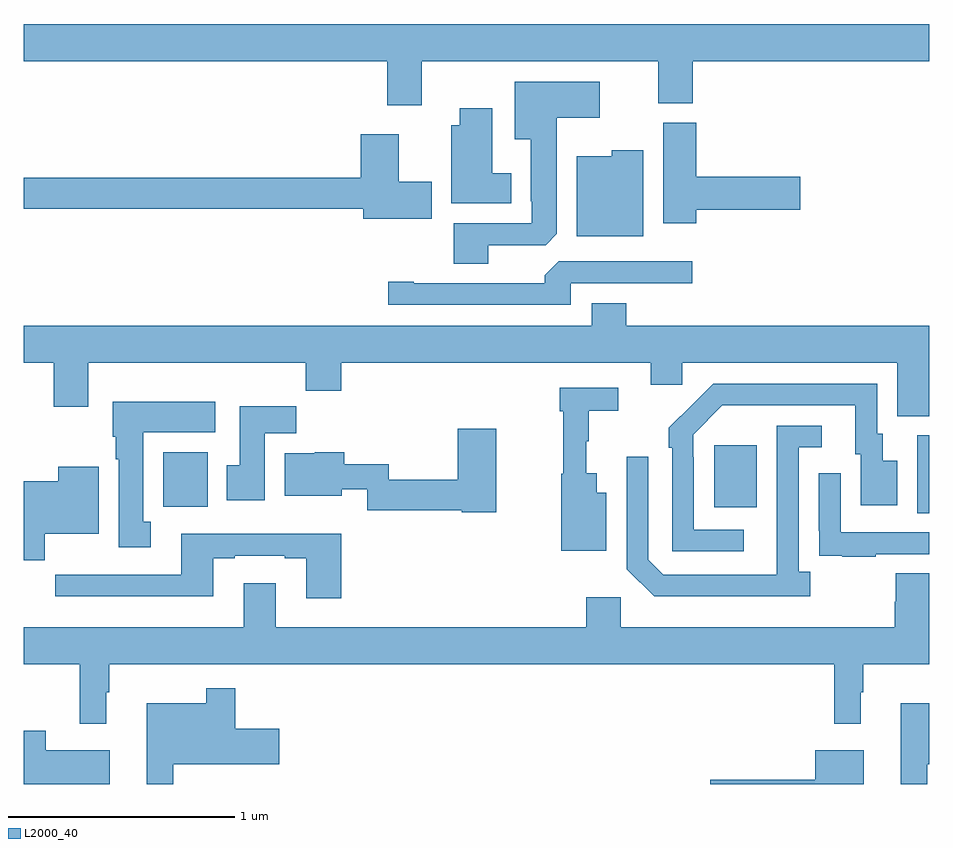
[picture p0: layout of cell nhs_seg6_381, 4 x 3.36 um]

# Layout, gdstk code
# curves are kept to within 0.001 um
import gdstk
lib = gdstk.Library(unit=1e-6, precision=1e-09)
def R(c, l, rs):  # rectangles x0, y0, x1, y1
    for r in rs: c.add(gdstk.rectangle(r[:2], r[2:], *l))
def P(c, l, *ps):  # polygons
    for p in ps: c.add(gdstk.Polygon(p, *l))
L2000_40 = (2000, 40)

nhs_seg6_381 = lib.new_cell('nhs_seg6_381')
R(nhs_seg6_381, L2000_40, [(136.946,922.696,137,923.04), (136.049,922.721,136.237,922.996), (133.616,922.724,133.813,922.966)])
P(nhs_seg6_381, L2000_40, [(134.758,924.692),(135.803,924.692),(135.803,924.505),(135.956,924.505),(135.956,924.692),(137,924.692),(137,924.856),(133,924.856),(133,924.692),(134.606,924.692),(134.606,924.498),(134.758,924.498)],
  [(135.052,923.88),(135.306,923.88),(135.355,923.929),(135.355,924.443),(135.544,924.443),(135.544,924.601),(135.17,924.601),(135.17,924.347),(135.239,924.347),(135.239,924.073),(135.243,924.073),(135.243,923.976),(134.9,923.976),(134.9,923.797),(135.052,923.797)],
  [(135.154,924.196),(135.07,924.196),(135.07,924.484),(134.927,924.484),(134.927,924.409),(134.888,924.409),(134.888,924.065),(135.154,924.065)],
  [(135.971,924.035),(136.429,924.035),(136.429,924.182),(135.971,924.182),(135.971,924.42),(135.824,924.42),(135.824,923.976),(135.971,923.976)],
  [(134.803,924.159),(134.656,924.159),(134.656,924.37),(134.489,924.37),(134.489,924.176),(133,924.176),(133,924.04),(134.501,924.04),(134.501,923.996),(134.803,923.996)],
  [(135.736,924.298),(135.597,924.298),(135.597,924.271),(135.443,924.271),(135.443,923.918),(135.736,923.918)],
  [(135.417,923.712),(135.952,923.712),(135.952,923.808),(135.363,923.808),(135.302,923.746),(135.302,923.712),(134.722,923.712),(134.722,923.717),(134.61,923.717),(134.61,923.616),(135.417,923.616)],
  [(133,923.36),(133.133,923.36),(133.133,923.166),(133.285,923.166),(133.285,923.36),(134.245,923.36),(134.245,923.236),(134.402,923.236),(134.402,923.36),(135.77,923.36),(135.77,923.262),(135.909,923.262),(135.909,923.36),(136.859,923.36),(136.859,923.125),(136.999,923.125),(136.999,923.36),(137,923.36),(137,923.524),(135.662,923.524),(135.662,923.623),(135.509,923.623),(135.509,923.524),(133,923.524)],
  [(136.18,922.623),(135.96,922.623),(135.96,922.943),(135.957,922.943),(135.957,923.043),(136.086,923.172),(136.673,923.172),(136.673,922.956),(136.697,922.956),(136.697,922.731),(136.858,922.731),(136.858,922.927),(136.795,922.927),(136.795,923.046),(136.77,923.046),(136.77,923.268),(136.046,923.268),(135.849,923.073),(135.849,922.985),(135.864,922.985),(135.864,922.527),(136.18,922.527)],
  [(135.574,922.786),(135.532,922.786),(135.532,922.873),(135.485,922.873),(135.485,923.013),(135.496,923.013),(135.496,923.149),(135.625,923.149),(135.625,923.25),(135.367,923.25),(135.367,923.147),(135.382,923.147),(135.382,922.869),(135.374,922.869),(135.374,922.529),(135.574,922.529)],
  [(133.561,922.658),(133.528,922.658),(133.528,923.054),(133.846,923.054),(133.846,923.188),(133.394,923.188),(133.394,923.034),(133.406,923.034),(133.406,922.934),(133.421,922.934),(133.421,922.545),(133.561,922.545)],
  [(134.065,923.048),(134.204,923.048),(134.204,923.167),(133.955,923.167),(133.955,922.908),(133.898,922.908),(133.898,922.752),(134.065,922.752)],
  [(136.474,922.438),(136.422,922.438),(136.422,922.986),(136.525,922.986),(136.525,923.082),(136.326,923.082),(136.325,922.425),(135.825,922.425),(135.759,922.491),(135.759,922.945),(135.663,922.945),(135.663,922.449),(135.784,922.328),(136.474,922.328)],
  [(135.088,923.068),(134.918,923.068),(134.918,922.844),(134.613,922.844),(134.613,922.912),(134.417,922.912),(134.417,922.966),(134.286,922.966),(134.286,922.96),(134.153,922.96),(134.153,922.772),(134.404,922.772),(134.404,922.802),(134.517,922.802),(134.517,922.708),(134.934,922.708),(134.934,922.7),(135.088,922.7)],
  [(133.093,922.604),(133.333,922.604),(133.333,922.9),(133.154,922.9),(133.154,922.837),(133,922.837),(133,922.489),(133.093,922.489)],
  [(136.763,922.515),(137,922.515),(137,922.611),(136.608,922.611),(136.608,922.873),(136.512,922.873),(136.512,922.618),(136.513,922.618),(136.513,922.509),(136.615,922.509),(136.615,922.503),(136.763,922.503)],
  [(134.402,922.606),(133.697,922.606),(133.697,922.425),(133.249,922.425),(133.249,922.423),(133.14,922.423),(133.14,922.328),(133.837,922.328),(133.837,922.497),(133.933,922.497),(133.933,922.509),(134.153,922.509),(134.153,922.497),(134.249,922.497),(134.249,922.32),(134.402,922.32)],
  [(133.366,921.905),(133.378,921.905),(133.378,922.028),(136.579,922.028),(136.579,921.765),(136.696,921.765),(136.696,921.905),(136.708,921.905),(136.708,922.028),(137,922.028),(137,922.298),(136.999,922.298),(136.999,922.43),(136.852,922.43),(136.852,922.305),(136.847,922.305),(136.847,922.192),(135.636,922.192),(135.636,922.324),(135.485,922.324),(135.485,922.192),(134.113,922.192),(134.113,922.387),(133.973,922.387),(133.973,922.192),(133,922.192),(133,922.028),(133.249,922.028),(133.249,921.765),(133.366,921.765)],
  [(133.661,921.587),(134.128,921.587),(134.128,921.745),(133.934,921.745),(133.934,921.922),(133.806,921.922),(133.806,921.856),(133.544,921.856),(133.544,921.5),(133.661,921.5)],
  [(136.991,921.587),(137,921.587),(137,921.856),(136.874,921.856),(136.874,921.5),(136.991,921.5)],
  [(133.381,921.649),(133.098,921.649),(133.098,921.736),(133,921.736),(133,921.5),(133.381,921.5)],
  [(136.711,921.649),(136.496,921.649),(136.496,921.518),(136.032,921.518),(136.032,921.5),(136.711,921.5)])

lib.write_gds('nhs_seg6_381.gds')
